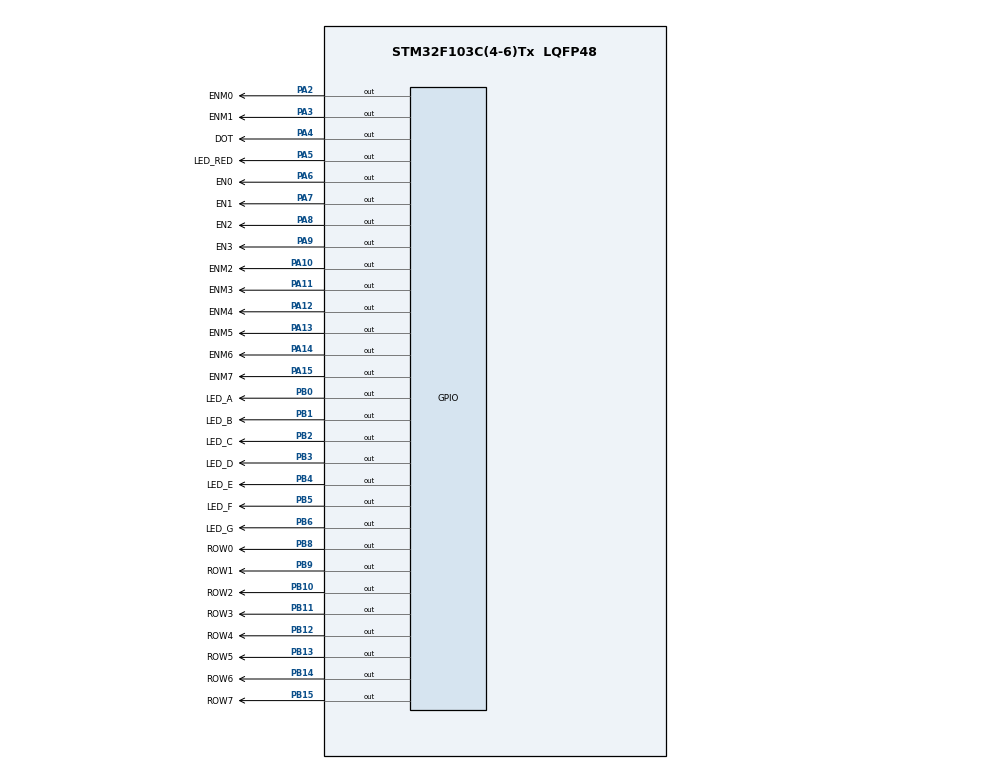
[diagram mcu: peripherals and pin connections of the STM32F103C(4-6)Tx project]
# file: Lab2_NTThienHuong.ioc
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Mcu.Family=STM32F1
Mcu.Name=STM32F103C(4-6)Tx
Mcu.Package=LQFP48
NVIC.PriorityGroup=NVIC_PRIORITYGROUP_4
NVIC.TIM2_IRQn=true\:0\:0\:false\:false\:true\:true\:true\:true
PA10.GPIO_Label=ENM2
PA10.Signal=GPIO_Output
PA11.GPIO_Label=ENM3
PA11.Signal=GPIO_Output
PA12.GPIO_Label=ENM4
PA12.Signal=GPIO_Output
PA13.GPIO_Label=ENM5
PA13.Signal=GPIO_Output
PA14.GPIO_Label=ENM6
PA14.Signal=GPIO_Output
PA15.GPIO_Label=ENM7
PA15.Signal=GPIO_Output
PA2.GPIO_Label=ENM0
PA2.Signal=GPIO_Output
PA3.GPIO_Label=ENM1
PA3.Signal=GPIO_Output
PA4.GPIO_Label=DOT
PA4.Signal=GPIO_Output
PA5.GPIO_Label=LED_RED
PA5.Signal=GPIO_Output
PA6.GPIO_Label=EN0
PA6.Signal=GPIO_Output
PA7.GPIO_Label=EN1
PA7.Signal=GPIO_Output
PA8.GPIO_Label=EN2
PA8.Signal=GPIO_Output
PA9.GPIO_Label=EN3
PA9.Signal=GPIO_Output
PB0.GPIO_Label=LED_A
PB0.Signal=GPIO_Output
PB1.GPIO_Label=LED_B
PB1.Signal=GPIO_Output
PB10.GPIO_Label=ROW2
PB10.Signal=GPIO_Output
PB11.GPIO_Label=ROW3
PB11.Signal=GPIO_Output
PB12.GPIO_Label=ROW4
PB12.Signal=GPIO_Output
PB13.GPIO_Label=ROW5
PB13.Signal=GPIO_Output
PB14.GPIO_Label=ROW6
PB14.Signal=GPIO_Output
PB15.GPIO_Label=ROW7
PB15.Signal=GPIO_Output
PB2.GPIO_Label=LED_C
PB2.Signal=GPIO_Output
PB3.GPIO_Label=LED_D
PB3.Signal=GPIO_Output
PB4.GPIO_Label=LED_E
PB4.Signal=GPIO_Output
PB5.GPIO_Label=LED_F
PB5.Signal=GPIO_Output
PB6.GPIO_Label=LED_G
PB6.Signal=GPIO_Output
PB8.GPIO_Label=ROW0
PB8.Signal=GPIO_Output
PB9.GPIO_Label=ROW1
PB9.Signal=GPIO_Output
ProjectManager.HeapSize=0x200
ProjectManager.StackSize=0x400
ProjectManager.TargetToolchain=STM32CubeIDE
RCC.APB1Freq_Value=8000000
RCC.APB2Freq_Value=8000000
TIM2.Period=9
TIM2.Prescaler=7999
VP_SYS_VS_ND.Mode=No_Debug
VP_TIM2_VS_ClockSourceINT.Mode=Internal
board=custom

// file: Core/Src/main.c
/* USER CODE BEGIN Header */
/**
  ******************************************************************************
  * @file           : main.c
  * @brief          : Main program body
  ******************************************************************************
  * @attention
  *
  * Copyright (c) 2024 STMicroelectronics.
  * All rights reserved.
  *
  * This software is licensed under terms that can be found in the LICENSE file
  * in the root directory of this software component.
  * If no LICENSE file comes with this software, it is provided AS-IS.
  *
  ******************************************************************************
  */
/* USER CODE END Header */
#include "main.h"

/* USER CODE BEGIN Includes */
#include "software_timer.h"
#include "linkedList.h"
/* USER CODE END Includes */

TIM_HandleTypeDef htim2;
const int MAX_LED = 4;
int index_led = 0;
int led_buffer [4] = {1 , 2 , 3 , 4};
int hour = 15 , minute = 8 , second = 50;

void SystemClock_Config(void);
static void MX_GPIO_Init(void);
static void MX_TIM2_Init(void);
void update7SEG (int index);
void display7SEG(int k);
void updateClockBuffer();
void controlColumns (int value);

/* USER CODE BEGIN 0 */
void update7SEG (int index){
	if (index >3) {
		index_led = 0;
		index = 0;
	}

	switch (index){
		case 0:
		  	HAL_GPIO_WritePin(GPIOA, EN0_Pin, GPIO_PIN_RESET);
		  	HAL_GPIO_WritePin(GPIOA, EN2_Pin| EN3_Pin  | EN1_Pin, GPIO_PIN_SET);
		  	display7SEG(led_buffer[0]);
			break;
		case 1:
		  	HAL_GPIO_WritePin(GPIOA,  EN1_Pin, GPIO_PIN_RESET);
		  	HAL_GPIO_WritePin(GPIOA, EN0_Pin | EN2_Pin | EN3_Pin, GPIO_PIN_SET);
		  	display7SEG(led_buffer[1]);
			break;
		case 2:
		  	HAL_GPIO_WritePin(GPIOA,EN2_Pin , GPIO_PIN_RESET);
		  	HAL_GPIO_WritePin(GPIOA, EN0_Pin | EN1_Pin | EN3_Pin, GPIO_PIN_SET);
		  	display7SEG(led_buffer[2]);
			break;
		case 3:
		  	HAL_GPIO_WritePin(GPIOA, EN3_Pin, GPIO_PIN_RESET);
		  	HAL_GPIO_WritePin(GPIOA, EN2_Pin | EN0_Pin | EN1_Pin, GPIO_PIN_SET);
		  	display7SEG(led_buffer[3]);
			break;
		default:
			display7SEG(0);
			break;
	}
}
void updateClockBuffer(){
	  second ++;
	  	if ( second >= 60) {
	  		second = 0;
	  		minute++;
	  	}
	  	if (minute >= 60){
	  		minute =0;
	  		hour++;
	  	}
	  	if (hour >= 24){
	  		hour=0;
	  	}

	led_buffer[0] = hour / 10;
	led_buffer[1] =	hour %10;
	led_buffer[2] = minute / 10;
	led_buffer[3] = minute % 10;
}
void display7SEG(int k){
	switch (k){
	case 0:
		  HAL_GPIO_WritePin(GPIOB, LED_A_Pin|LED_B_Pin|LED_C_Pin|LED_D_Pin
		                          |LED_E_Pin|LED_F_Pin|LED_G_Pin, GPIO_PIN_RESET);

		  HAL_GPIO_WritePin(GPIOB, LED_G_Pin, GPIO_PIN_SET);
		break;
	case 1:
		  HAL_GPIO_WritePin(GPIOB, LED_B_Pin|LED_C_Pin, GPIO_PIN_RESET);

		  HAL_GPIO_WritePin(GPIOB, LED_A_Pin|LED_D_Pin
		                          |LED_E_Pin|LED_F_Pin|LED_G_Pin, GPIO_PIN_SET);
		break;
	case 2:
		  HAL_GPIO_WritePin(GPIOB, LED_A_Pin|LED_B_Pin | LED_D_Pin
		                          |LED_E_Pin|LED_G_Pin, GPIO_PIN_RESET);

		  HAL_GPIO_WritePin(GPIOB,LED_C_Pin|LED_F_Pin, GPIO_PIN_SET);
		break;
	case 3:
		  HAL_GPIO_WritePin(GPIOB, LED_A_Pin|LED_B_Pin|LED_C_Pin|LED_D_Pin
		                          |LED_G_Pin, GPIO_PIN_RESET);
		  HAL_GPIO_WritePin(GPIOB, LED_E_Pin|LED_F_Pin, GPIO_PIN_SET);
		break;
	case 4:
		  HAL_GPIO_WritePin(GPIOB, LED_B_Pin|LED_C_Pin |LED_F_Pin|LED_G_Pin, GPIO_PIN_RESET);

		  HAL_GPIO_WritePin(GPIOB, LED_A_Pin|LED_D_Pin|LED_E_Pin, GPIO_PIN_SET);
		break;
	case 5:
		  HAL_GPIO_WritePin(GPIOB, LED_A_Pin|LED_C_Pin|LED_D_Pin
		                          |LED_F_Pin|LED_G_Pin, GPIO_PIN_RESET);

		  HAL_GPIO_WritePin(GPIOB,LED_B_Pin|LED_E_Pin, GPIO_PIN_SET);
		break;
	case 6:
		  HAL_GPIO_WritePin(GPIOB,LED_B_Pin, GPIO_PIN_SET);

		  HAL_GPIO_WritePin(GPIOB, LED_A_Pin|LED_C_Pin|LED_D_Pin
		                          |LED_E_Pin|LED_F_Pin|LED_G_Pin, GPIO_PIN_RESET);

		break;
	case 7:
		  HAL_GPIO_WritePin(GPIOB, LED_A_Pin|LED_B_Pin|LED_C_Pin , GPIO_PIN_RESET);

		  HAL_GPIO_WritePin(GPIOB, LED_D_Pin |LED_E_Pin|LED_F_Pin|LED_G_Pin, GPIO_PIN_SET);
		break;
	case 8:
		  HAL_GPIO_WritePin(GPIOB, LED_A_Pin|LED_B_Pin|LED_C_Pin|LED_D_Pin
		                          |LED_E_Pin|LED_F_Pin|LED_G_Pin, GPIO_PIN_RESET);
		break;
	case 9:
		  HAL_GPIO_WritePin(GPIOB, LED_A_Pin|LED_B_Pin|LED_C_Pin|LED_D_Pin
		                          |LED_E_Pin|LED_F_Pin|LED_G_Pin, GPIO_PIN_RESET);

		  HAL_GPIO_WritePin(GPIOB, LED_E_Pin, GPIO_PIN_SET);
		break;
	default:
		  HAL_GPIO_WritePin(GPIOB, LED_A_Pin|LED_B_Pin|LED_C_Pin|LED_D_Pin
		                          |LED_E_Pin|LED_F_Pin|LED_G_Pin, GPIO_PIN_RESET);
	}
}
void controlColumns (int value){
	switch (value){
		case 0:
			HAL_GPIO_WritePin(GPIOA, ENM0_Pin, GPIO_PIN_SET);
			HAL_GPIO_WritePin(GPIOA, ENM1_Pin|ENM2_Pin|ENM3_Pin|ENM4_Pin|ENM5_Pin
			  	                          |ENM6_Pin|ENM7_Pin, GPIO_PIN_RESET);
			break;
		case 1:
			HAL_GPIO_WritePin(GPIOA, ENM1_Pin, GPIO_PIN_SET);
			HAL_GPIO_WritePin(GPIOA, ENM0_Pin|ENM2_Pin|ENM3_Pin|ENM4_Pin|ENM5_Pin
			  	                          |ENM6_Pin|ENM7_Pin, GPIO_PIN_RESET);
			break;
		case 2:
			HAL_GPIO_WritePin(GPIOA, ENM2_Pin, GPIO_PIN_SET);
			HAL_GPIO_WritePin(GPIOA, ENM0_Pin|ENM1_Pin|ENM3_Pin|ENM4_Pin|ENM5_Pin
			  	                          |ENM6_Pin|ENM7_Pin, GPIO_PIN_RESET);
			break;
		case 3:
			HAL_GPIO_WritePin(GPIOA, ENM3_Pin, GPIO_PIN_SET);
			HAL_GPIO_WritePin(GPIOA, ENM0_Pin|ENM1_Pin|ENM2_Pin|ENM4_Pin|ENM5_Pin
			  	                          |ENM6_Pin|ENM7_Pin, GPIO_PIN_RESET);
			break;
		case 4:
			HAL_GPIO_WritePin(GPIOA, ENM4_Pin, GPIO_PIN_SET);
			HAL_GPIO_WritePin(GPIOA, ENM0_Pin|ENM1_Pin|ENM2_Pin|ENM3_Pin|ENM5_Pin
			  	                          |ENM6_Pin|ENM7_Pin, GPIO_PIN_RESET);
			break;
		case 5:
			HAL_GPIO_WritePin(GPIOA, ENM5_Pin, GPIO_PIN_SET);
			HAL_GPIO_WritePin(GPIOA, ENM0_Pin|ENM1_Pin|ENM2_Pin|ENM3_Pin|ENM4_Pin
			  	                          |ENM6_Pin|ENM7_Pin, GPIO_PIN_RESET);
			break;
		case 6:
			HAL_GPIO_WritePin(GPIOA, ENM6_Pin, GPIO_PIN_SET);
			HAL_GPIO_WritePin(GPIOA, ENM0_Pin|ENM1_Pin|ENM2_Pin|ENM3_Pin|ENM4_Pin|ENM5_Pin
			  	                          |ENM7_Pin, GPIO_PIN_RESET);
			break;
		case 7:
			HAL_GPIO_WritePin(GPIOA, ENM7_Pin, GPIO_PIN_SET);
			HAL_GPIO_WritePin(GPIOA, ENM0_Pin|ENM1_Pin|ENM2_Pin|ENM3_Pin|ENM4_Pin|ENM5_Pin
			  	                          |ENM6_Pin, GPIO_PIN_RESET);
			break;
		default:
			HAL_GPIO_WritePin(GPIOA, ENM0_Pin|ENM1_Pin|ENM2_Pin|ENM3_Pin|ENM4_Pin|ENM5_Pin
			  	                          |ENM6_Pin |ENM7_Pin, GPIO_PIN_RESET);
			break;
	}
}
void controlRows (int value){
	switch (value){
		case 0:
	  		  HAL_GPIO_WritePin(GPIOB, ROW0_Pin , SET);
			break;
		case 1:
	  		  HAL_GPIO_WritePin(GPIOB, ROW1_Pin , SET);

			break;
		case 2:
	  		  HAL_GPIO_WritePin(GPIOB, ROW2_Pin , SET);

			break;
		case 3:
	  		  HAL_GPIO_WritePin(GPIOB, ROW3_Pin , SET);

			break;
		case 4:
	  		  HAL_GPIO_WritePin(GPIOB, ROW4_Pin , SET);

			break;
		case 5:
	  		  HAL_GPIO_WritePin(GPIOB, ROW5_Pin , SET);

			break;
		case 6:
	  		  HAL_GPIO_WritePin(GPIOB, ROW6_Pin , SET);

			break;
		case 7:
	  		  HAL_GPIO_WritePin(GPIOB, ROW7_Pin , SET);
			break;
		default:
	  		  HAL_GPIO_WritePin(GPIOB, ROW0_Pin |ROW1_Pin | ROW2_Pin | ROW3_Pin | ROW4_Pin |
	  				  ROW5_Pin| ROW6_Pin |ROW7_Pin , RESET);
			break;
	}
}

/* USER CODE END 0 */

int main(void)
{

  /* MCU Configuration--------------------------------------------------------*/

  /* Reset of all peripherals, Initializes the Flash interface and the Systick. */
  HAL_Init();

  /* USER CODE BEGIN Init */

  int i=7;
  int character_A[8][8] = {{0,0,0,1,1,0,0,0},{0,0,1,1,1,1,0,0},{0,1,1,0,0,1,1,0},{0,1,1,0,0,1,1,0},
    		  {0,1,1,1,1,1,1,0},{0,1,1,1,1,1,1,0},{0,1,1,0,0,1,1,0},{0,1,1,0,0,1,1,0}};
//    int character_A[8][8] = {{0,1,1,0,0,1,1,0},{0,1,1,0,0,1,1,0},{0,1,1,1,1,1,1,0},{0,1,1,1,1,1,1,0},
//    		{0,1,1,0,0,1,1,0},{0,1,1,0,0,1,1,0},{0,0,1,1,1,1,0,0},{0,0,0,1,1,0,0,0}};

  Node* head[8] = { NULL };

  for (int i = 0; i < 8; i++) {
      for (int j = 0; j < 8; j++) {
          insertAtEnd(&head[i], character_A[i][j]);
      }
      connectEndToFirst(&head[i]);
  }

  Node* temp = head[i];
  /* USER CODE END Init */

  /* Configure the system clock */
  SystemClock_Config();

  /* Initialize all configured peripherals */
  MX_GPIO_Init();
  MX_TIM2_Init();
  /* USER CODE BEGIN 2 */
  HAL_TIM_Base_Start_IT(&htim2);

  /* USER CODE END 2 */

  /* Infinite loop */
  /* USER CODE BEGIN WHILE */
  setTimer0(10);
  setTimer1(100);
  setTimer2(50);
  setTimer3(1);

  // ngat timer goi 10ms moi lan => 10x100 = 1000ms = 1s
  while (1)
      {
  	  /* USER CODE END WHILE */
	  	  // update hour minute and second
		  if (timer0_flag == 1 ){
				updateClockBuffer();
				setTimer0(10);
		  }
		  // LED PA5 and DOT
    	  if (timer1_flag == 1){

    		  HAL_GPIO_TogglePin(GPIOA,LED_RED_Pin);
    		  HAL_GPIO_TogglePin(GPIOA,DOT_Pin);
    		  setTimer1(100);
    	  }
    	  // update buffer to 7seg
    	  if (timer2_flag == 1){
    		  update7SEG(index_led++);
    		  setTimer2(50);
    	  }
    	  // led matrix
    	  if (timer3_flag == 1){
    		  	 // turn of all led row
				controlRows(-1);
				// turn on i column
    	 		controlColumns(i);

    	 		 for (int j = 0; j < 8; j++) {
    	 	    	if (temp->data == 1){
    	 	    			controlRows(j);
    	 	    	}
    	 	    	temp = temp->next;
    	 		  }

    	 		 // update led matrix
    	 		 head[i] = head[i]->next;

    	 	     i--;
    	 	     if (i == -1) {
    	 	    	 i = 7;
    	 	     }
    	 	     temp = head[i];

    	  	setTimer3(1);
    	  }

// 	    HAL_Delay(1);
      }
}
void SystemClock_Config(void)
{
  RCC_OscInitTypeDef RCC_OscInitStruct = {0};
  RCC_ClkInitTypeDef RCC_ClkInitStruct = {0};

  /** Initializes the RCC Oscillators according to the specified parameters
  * in the RCC_OscInitTypeDef structure.
  */
  RCC_OscInitStruct.OscillatorType = RCC_OSCILLATORTYPE_HSI;
  RCC_OscInitStruct.HSIState = RCC_HSI_ON;
  RCC_OscInitStruct.HSICalibrationValue = RCC_HSICALIBRATION_DEFAULT;
  RCC_OscInitStruct.PLL.PLLState = RCC_PLL_NONE;
  if (HAL_RCC_OscConfig(&RCC_OscInitStruct) != HAL_OK)
  {
    Error_Handler();
  }

  /** Initializes the CPU, AHB and APB buses clocks
  */
  RCC_ClkInitStruct.ClockType = RCC_CLOCKTYPE_HCLK|RCC_CLOCKTYPE_SYSCLK
                              |RCC_CLOCKTYPE_PCLK1|RCC_CLOCKTYPE_PCLK2;
  RCC_ClkInitStruct.SYSCLKSource = RCC_SYSCLKSOURCE_HSI;
  RCC_ClkInitStruct.AHBCLKDivider = RCC_SYSCLK_DIV1;
  RCC_ClkInitStruct.APB1CLKDivider = RCC_HCLK_DIV1;
  RCC_ClkInitStruct.APB2CLKDivider = RCC_HCLK_DIV1;

  if (HAL_RCC_ClockConfig(&RCC_ClkInitStruct, FLASH_LATENCY_0) != HAL_OK)
  {
    Error_Handler();
  }
}

static void MX_TIM2_Init(void)
{

  TIM_ClockConfigTypeDef sClockSourceConfig = {0};
  TIM_MasterConfigTypeDef sMasterConfig = {0};

  htim2.Instance = TIM2;
  htim2.Init.Prescaler = 7999;
  htim2.Init.CounterMode = TIM_COUNTERMODE_UP;
  htim2.Init.Period = 9;
  htim2.Init.ClockDivision = TIM_CLOCKDIVISION_DIV1;
  htim2.Init.AutoReloadPreload = TIM_AUTORELOAD_PRELOAD_DISABLE;
  if (HAL_TIM_Base_Init(&htim2) != HAL_OK)
  {
    Error_Handler();
  }
  sClockSourceConfig.ClockSource = TIM_CLOCKSOURCE_INTERNAL;
  if (HAL_TIM_ConfigClockSource(&htim2, &sClockSourceConfig) != HAL_OK)
  {
    Error_Handler();
  }
  sMasterConfig.MasterOutputTrigger = TIM_TRGO_RESET;
  sMasterConfig.MasterSlaveMode = TIM_MASTERSLAVEMODE_DISABLE;
  if (HAL_TIMEx_MasterConfigSynchronization(&htim2, &sMasterConfig) != HAL_OK)
  {
    Error_Handler();
  }

}

static void MX_GPIO_Init(void)
{
  GPIO_InitTypeDef GPIO_InitStruct = {0};

  /* GPIO Ports Clock Enable */
  __HAL_RCC_GPIOA_CLK_ENABLE();
  __HAL_RCC_GPIOB_CLK_ENABLE();

  /*Configure GPIO pin Output Level */
  HAL_GPIO_WritePin(GPIOA, ENM0_Pin|ENM1_Pin|DOT_Pin|LED_RED_Pin
                          |EN0_Pin|EN1_Pin|EN2_Pin|EN3_Pin
                          |ENM2_Pin|ENM3_Pin|ENM4_Pin|ENM5_Pin
                          |ENM6_Pin|ENM7_Pin, GPIO_PIN_RESET);

  /*Configure GPIO pin Output Level */
  HAL_GPIO_WritePin(GPIOB, LED_A_Pin|LED_B_Pin|LED_C_Pin|ROW2_Pin
                          |ROW3_Pin|ROW4_Pin|ROW5_Pin|ROW6_Pin
                          |ROW7_Pin|LED_D_Pin|LED_E_Pin|LED_F_Pin
                          |LED_G_Pin|ROW0_Pin|ROW1_Pin, GPIO_PIN_RESET);

  /*Configure GPIO pins : ENM0_Pin ENM1_Pin DOT_Pin LED_RED_Pin
                           EN0_Pin EN1_Pin EN2_Pin EN3_Pin
                           ENM2_Pin ENM3_Pin ENM4_Pin ENM5_Pin
                           ENM6_Pin ENM7_Pin */
  GPIO_InitStruct.Pin = ENM0_Pin|ENM1_Pin|DOT_Pin|LED_RED_Pin
                          |EN0_Pin|EN1_Pin|EN2_Pin|EN3_Pin
                          |ENM2_Pin|ENM3_Pin|ENM4_Pin|ENM5_Pin
                          |ENM6_Pin|ENM7_Pin;
  GPIO_InitStruct.Mode = GPIO_MODE_OUTPUT_PP;
  GPIO_InitStruct.Pull = GPIO_NOPULL;
  GPIO_InitStruct.Speed = GPIO_SPEED_FREQ_LOW;
  HAL_GPIO_Init(GPIOA, &GPIO_InitStruct);

  /*Configure GPIO pins : LED_A_Pin LED_B_Pin LED_C_Pin ROW2_Pin
                           ROW3_Pin ROW4_Pin ROW5_Pin ROW6_Pin
                           ROW7_Pin LED_D_Pin LED_E_Pin LED_F_Pin
                           LED_G_Pin ROW0_Pin ROW1_Pin */
  GPIO_InitStruct.Pin = LED_A_Pin|LED_B_Pin|LED_C_Pin|ROW2_Pin
                          |ROW3_Pin|ROW4_Pin|ROW5_Pin|ROW6_Pin
                          |ROW7_Pin|LED_D_Pin|LED_E_Pin|LED_F_Pin
                          |LED_G_Pin|ROW0_Pin|ROW1_Pin;
  GPIO_InitStruct.Mode = GPIO_MODE_OUTPUT_PP;
  GPIO_InitStruct.Pull = GPIO_NOPULL;
  GPIO_InitStruct.Speed = GPIO_SPEED_FREQ_LOW;
  HAL_GPIO_Init(GPIOB, &GPIO_InitStruct);

}

/* USER CODE BEGIN 4 */

void HAL_TIM_PeriodElapsedCallback(TIM_HandleTypeDef *htim){
	timerRun();

}
/* USER CODE END 4 */

void Error_Handler(void)
{
  __disable_irq();
  while (1)
  {
  }
}
